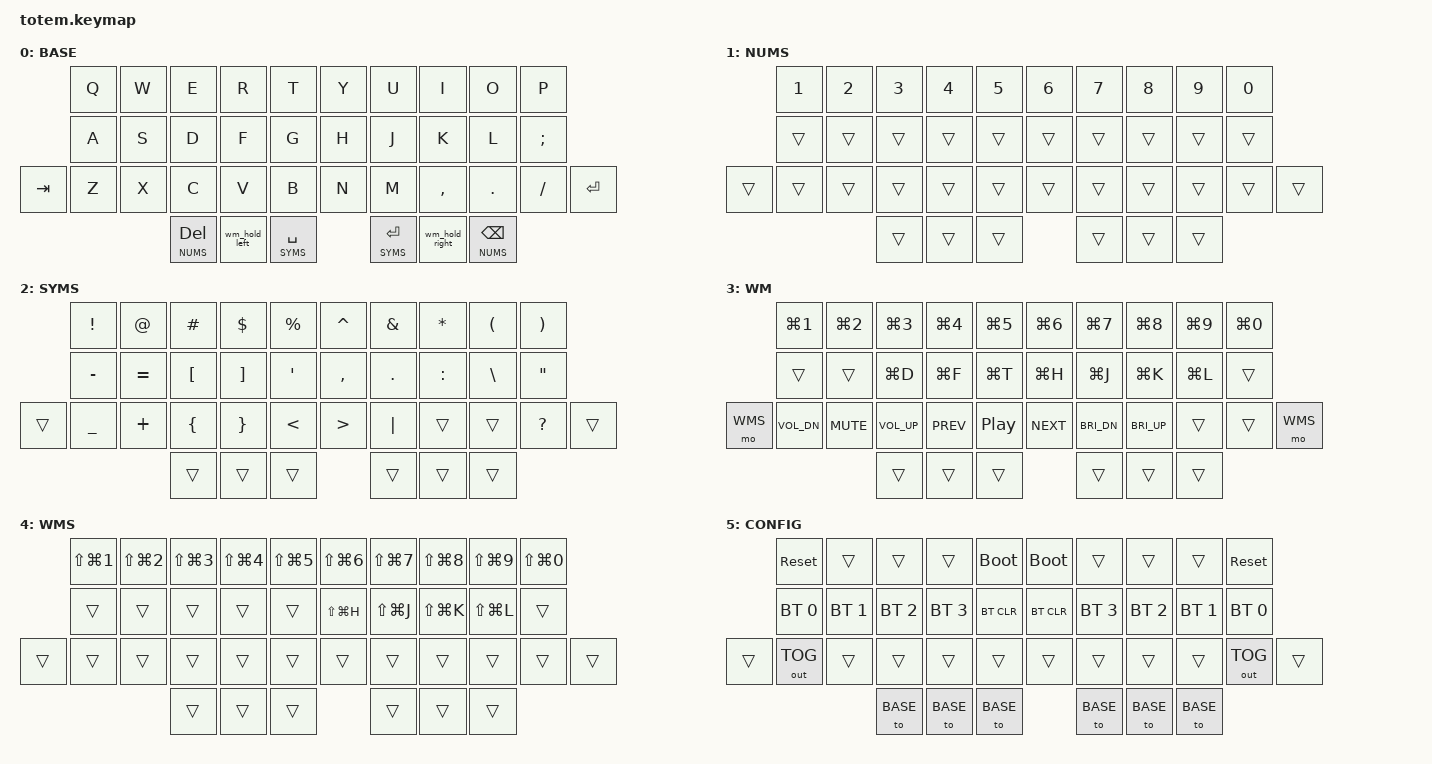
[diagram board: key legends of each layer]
//
//                                                        ▀▀▀▀▀     ▀▀▀▀▀          ▀▀█▀▀
//                                                        ▄▀▀▀▄  ▄  ▄▀▀▀▄  ▄  ▄▀▀▀▄  █  ▄▀▀▀▄
//                                                        █   █  █  █   █  █  █   █  █  █   █
//                                                         ▀▀▀   █   ▀▀▀   █   ▀▀▀   ▀   ▀▀▀
//                                                               █      ▄▄▄█▄▄▄    █   █
//                                                               ▀      █  █  █     █▄█
//                                                             ▀▀▀▀▀    █  █  █      ▀
//                                                                      ▀  ▀  ▀
//
// ▄▄▄▄▄▄▄▄▄▄▄▄▄▄▄▄▄▄▄▄▄▄▄▄▄▄▄▄▄▄▄▄▄▄▄▄▄▄▄▄▄▄▄▄▄▄▄▄▄▄▄▄▄▄▄▄▄▄▄▄▄▄▄▄▄▄▄▄▄▄▄▄▄▄▄▄▄▄▄▄▄▄▄▄▄▄▄▄▄▄▄▄▄▄▄▄▄▄▄▄▄▄▄▄▄▄▄▄▄▄▄▄▄▄▄▄▄▄▄▄▄▄▄▄▄▄▄▄▄▄▄▄▄▄▄▄▄▄▄▄▄▄▄▄▄▄▄▄▄

#include <behaviors.dtsi>
#include <dt-bindings/zmk/bt.h>
#include <dt-bindings/zmk/keys.h>
#include <dt-bindings/zmk/outputs.h>
#include <dt-bindings/zmk/macros.dtsi>

#define BASE   0
#define NUMS   1
#define SYMS   2
#define WM     3
#define WMS    4
#define CONFIG 5

&mt {
    quick-tap-ms = <100>;
    global-quick-tap;
    flavor = "tap-preferred";
    tapping-term-ms = <170>;
};

// Macro: hold LGUI + WM layer simultaneously
wm_gui_macro: wm_gui_macro {
    compatible = "zmk,behavior-macro";
    label = "WM_GUI_MACRO";
    #binding-cells = <0>;
    bindings =
        <&macro_press &kp LGUI>,
        <&macro_press &mo WM>,
        <&macro_pause_for_release>,
        <&macro_release &mo WM>,
        <&macro_release &kp LGUI>;
    wait-ms = <2>;
    tap-ms = <2>;
};

// Left thumb: hold = LGUI+WM, tap = TAB
wm_hold_left: wm_hold_left {
    compatible = "zmk,behavior-hold-tap";
    label = "WM_HOLD_LEFT";
    #binding-cells = <0>;
    bindings = <&wm_gui_macro>, <&kp TAB>;
    flavor = "hold-preferred";
    tapping-term-ms = <170>;
};

// Right thumb: hold = LGUI+WM, tap = ESC
wm_hold_right: wm_hold_right {
    compatible = "zmk,behavior-hold-tap";
    label = "WM_HOLD_RIGHT";
    #binding-cells = <0>;
    bindings = <&wm_gui_macro>, <&kp ESC>;
    flavor = "hold-preferred";
    tapping-term-ms = <170>;
};

/ {
    combos {
        compatible = "zmk,combos";

        combo_esc {
            timeout-ms = <50>;
            key-positions = <0 1>;
            bindings = <&kp ESC>;
            layers = <BASE>;
        };

        combo_wm_quit {
            timeout-ms = <50>;
            key-positions = <0 1>;
            bindings = <&kp LG(Q)>;
            layers = <WM>;
        };

        combo_backspace {
            bindings = <&kp BACKSPACE>;
            key-positions = <8 9>;
        };

        // CONFIG layer toggle - DEL + SPACE (thumb 1 + thumb 3)
        combo_config_toggle {
            timeout-ms = <50>;
            key-positions = <32 34>;
            bindings = <&to CONFIG>;
        };

        // CONFIG layer exit via Q + W
        combo_config_exit {
            timeout-ms = <50>;
            key-positions = <0 1>;
            bindings = <&to BASE>;
            layers = <CONFIG>;
        };
    };

    keymap {
        compatible = "zmk,keymap";

        // ▄▄▄▄▄▄▄▄▄▄▄▄▄▄▄▄▄▄▄▄▄▄▄▄▄▄▄▄▄▄▄▄▄▄▄▄▄▄▄▄▄▄▄▄▄▄▄▄▄▄▄▄▄▄▄▄▄▄▄▄▄▄▄▄▄▄▄▄▄▄▄▄▄▄▄▄▄▄▄▄▄▄▄▄▄▄▄▄▄▄▄▄▄▄▄▄▄▄▄▄▄▄▄▄▄▄▄▄▄▄▄▄▄▄▄▄▄▄▄▄▄▄▄▄▄▄▄▄▄▄▄▄▄▄▄▄▄▄▄▄▄▄▄▄▄▄▄▄▄

        base_layer {
            label = "BASE";

            //             ┏━━━━━━━━━━━┳━━━━━━━━━━━┳━━━━━━━━━━━┳━━━━━━━━━━━┳━━━━━━━━━━━┓   ┏━━━━━━━━━━━┳━━━━━━━━━━━┳━━━━━━━━━━━┳━━━━━━━━━━━┳━━━━━━━━━━━┓
            //             ┃     Q     ┃     W     ┃     E     ┃     R     ┃     T     ┃   ┃     Y     ┃     U     ┃     I     ┃     O     ┃     P     ┃
            //             ┣━━━━━━━━━━━╋━━━━━━━━━━━╋━━━━━━━━━━━╋━━━━━━━━━━━╋━━━━━━━━━━━┫   ┣━━━━━━━━━━━╋━━━━━━━━━━━╋━━━━━━━━━━━╋━━━━━━━━━━━╋━━━━━━━━━━━┫
            //             ┃     A     ┃     S     ┃     D     ┃     F     ┃     G     ┃   ┃     H     ┃     J     ┃     K     ┃     L     ┃     ;     ┃
            // ┏━━━━━━━━━━━╋━━━━━━━━━━━╋━━━━━━━━━━━╋━━━━━━━━━━━╋━━━━━━━━━━━╋━━━━━━━━━━━┫   ┣━━━━━━━━━━━╋━━━━━━━━━━━╋━━━━━━━━━━━╋━━━━━━━━━━━╋━━━━━━━━━━━╋━━━━━━━━━━━┓
            // ┃    TAB    ┃     Z     ┃     X     ┃     C     ┃     V     ┃     B     ┃   ┃     N     ┃     M     ┃     ,     ┃     .     ┃     /     ┃   ENTER   ┃
            // ┗━━━━━━━━━━━┻━━━━━━━━━━━┻━━━━━━━━━━━╋━━━━━━━━━━━╋━━━━━━━━━━━╋━━━━━━━━━━━┫   ┣━━━━━━━━━━━╋━━━━━━━━━━━╋━━━━━━━━━━━╋━━━━━━━━━━━┻━━━━━━━━━━━┻━━━━━━━━━━━┛
            //                                     ┃ LT(NUM,DEL) ┃  WM+GUI/TAB  ┃ LT(SYM,SPC) ┃   ┃ LT(SYM,RET) ┃  WM+GUI/ESC  ┃ LT(NUM,BSPC) ┃
            //                                     ┗━━━━━━━━━━━┻━━━━━━━━━━━┻━━━━━━━━━━━┛   ┗━━━━━━━━━━━┻━━━━━━━━━━━┻━━━━━━━━━━━┛

            bindings = <
            &kp Q      &kp W  &kp E    &kp R           &kp T                &kp Y            &kp U           &kp I      &kp O    &kp P
            &kp A      &kp S  &kp D    &kp F           &kp G                &kp H            &kp J           &kp K      &kp L    &kp SEMICOLON
&kp TAB     &kp Z      &kp X  &kp C    &kp V           &kp B                &kp N            &kp M           &kp COMMA  &kp DOT  &kp FSLH       &kp ENTER
                              &lt NUMS DEL  &wm_hold_left      &lt SYMS SPACE      &lt SYMS RET     &wm_hold_right      &lt NUMS BSPC
            >;
        };

        // ▄▄▄▄▄▄▄▄▄▄▄▄▄▄▄▄▄▄▄▄▄▄▄▄▄▄▄▄▄▄▄▄▄▄▄▄▄▄▄▄▄▄▄▄▄▄▄▄▄▄▄▄▄▄▄▄▄▄▄▄▄▄▄▄▄▄▄▄▄▄▄▄▄▄▄▄▄▄▄▄▄▄▄▄▄▄▄▄▄▄▄▄▄▄▄▄▄▄▄▄▄▄▄▄▄▄▄▄▄▄▄▄▄▄▄▄▄▄▄▄▄▄▄▄▄▄▄▄▄▄▄▄▄▄▄▄▄▄▄▄▄▄▄▄▄▄▄▄▄

        nums_layer {
            label = "NUMS";

            //             ┏━━━━━━━━━━━┳━━━━━━━━━━━┳━━━━━━━━━━━┳━━━━━━━━━━━┳━━━━━━━━━━━┓   ┏━━━━━━━━━━━┳━━━━━━━━━━━┳━━━━━━━━━━━┳━━━━━━━━━━━┳━━━━━━━━━━━┓
            //             ┃     1     ┃     2     ┃     3     ┃     4     ┃     5     ┃   ┃     6     ┃     7     ┃     8     ┃     9     ┃     0     ┃
            //             ┣━━━━━━━━━━━╋━━━━━━━━━━━╋━━━━━━━━━━━╋━━━━━━━━━━━╋━━━━━━━━━━━┫   ┣━━━━━━━━━━━╋━━━━━━━━━━━╋━━━━━━━━━━━╋━━━━━━━━━━━╋━━━━━━━━━━━┫
            //             ┃           ┃           ┃           ┃           ┃           ┃   ┃           ┃           ┃           ┃           ┃           ┃
            // ┏━━━━━━━━━━━╋━━━━━━━━━━━╋━━━━━━━━━━━╋━━━━━━━━━━━╋━━━━━━━━━━━╋━━━━━━━━━━━┫   ┣━━━━━━━━━━━╋━━━━━━━━━━━╋━━━━━━━━━━━╋━━━━━━━━━━━╋━━━━━━━━━━━╋━━━━━━━━━━━┓
            // ┃           ┃           ┃           ┃           ┃           ┃           ┃   ┃           ┃           ┃           ┃           ┃           ┃           ┃
            // ┗━━━━━━━━━━━┻━━━━━━━━━━━┻━━━━━━━━━━━╋━━━━━━━━━━━╋━━━━━━━━━━━╋━━━━━━━━━━━┫   ┣━━━━━━━━━━━╋━━━━━━━━━━━╋━━━━━━━━━━━╋━━━━━━━━━━━┻━━━━━━━━━━━┻━━━━━━━━━━━┛
            //                                     ┃  [HOLD]   ┃           ┃           ┃   ┃           ┃           ┃  [HOLD]   ┃
            //                                     ┗━━━━━━━━━━━┻━━━━━━━━━━━┻━━━━━━━━━━━┛   ┗━━━━━━━━━━━┻━━━━━━━━━━━┻━━━━━━━━━━━┛

            bindings = <
            &kp N1     &kp N2     &kp N3     &kp N4      &kp N5          &kp N6      &kp N7      &kp N8      &kp N9      &kp N0
            &trans     &trans     &trans     &trans      &trans          &trans      &trans      &trans      &trans      &trans
&trans      &trans     &trans     &trans     &trans      &trans          &trans      &trans      &trans      &trans      &trans      &trans
                                  &trans     &trans      &trans          &trans      &trans      &trans
            >;
        };

        // ▄▄▄▄▄▄▄▄▄▄▄▄▄▄▄▄▄▄▄▄▄▄▄▄▄▄▄▄▄▄▄▄▄▄▄▄▄▄▄▄▄▄▄▄▄▄▄▄▄▄▄▄▄▄▄▄▄▄▄▄▄▄▄▄▄▄▄▄▄▄▄▄▄▄▄▄▄▄▄▄▄▄▄▄▄▄▄▄▄▄▄▄▄▄▄▄▄▄▄▄▄▄▄▄▄▄▄▄▄▄▄▄▄▄▄▄▄▄▄▄▄▄▄▄▄▄▄▄▄▄▄▄▄▄▄▄▄▄▄▄▄▄▄▄▄▄▄▄▄

        syms_layer {
            label = "SYMS";

            //             ┏━━━━━━━━━━━┳━━━━━━━━━━━┳━━━━━━━━━━━┳━━━━━━━━━━━┳━━━━━━━━━━━┓   ┏━━━━━━━━━━━┳━━━━━━━━━━━┳━━━━━━━━━━━┳━━━━━━━━━━━┳━━━━━━━━━━━┓
            //             ┃     !     ┃     @     ┃     #     ┃     $     ┃     %     ┃   ┃     ^     ┃     &     ┃     *     ┃     (     ┃     )     ┃
            //             ┣━━━━━━━━━━━╋━━━━━━━━━━━╋━━━━━━━━━━━╋━━━━━━━━━━━╋━━━━━━━━━━━┫   ┣━━━━━━━━━━━╋━━━━━━━━━━━╋━━━━━━━━━━━╋━━━━━━━━━━━╋━━━━━━━━━━━┫
            //             ┃     -     ┃     =     ┃     [     ┃     ]     ┃     '     ┃   ┃     ,     ┃     .     ┃     :     ┃     \     ┃     "     ┃
            // ┏━━━━━━━━━━━╋━━━━━━━━━━━╋━━━━━━━━━━━╋━━━━━━━━━━━╋━━━━━━━━━━━╋━━━━━━━━━━━┫   ┣━━━━━━━━━━━╋━━━━━━━━━━━╋━━━━━━━━━━━╋━━━━━━━━━━━╋━━━━━━━━━━━╋━━━━━━━━━━━┓
            // ┃           ┃     _     ┃     +     ┃     {     ┃     }     ┃     <     ┃   ┃     >     ┃     |     ┃           ┃           ┃     ?     ┃           ┃
            // ┗━━━━━━━━━━━┻━━━━━━━━━━━┻━━━━━━━━━━━╋━━━━━━━━━━━╋━━━━━━━━━━━╋━━━━━━━━━━━┫   ┣━━━━━━━━━━━╋━━━━━━━━━━━╋━━━━━━━━━━━╋━━━━━━━━━━━┻━━━━━━━━━━━┻━━━━━━━━━━━┛
            //                                     ┃           ┃           ┃  [HOLD]   ┃   ┃  [HOLD]   ┃           ┃           ┃
            //                                     ┗━━━━━━━━━━━┻━━━━━━━━━━━┻━━━━━━━━━━━┛   ┗━━━━━━━━━━━┻━━━━━━━━━━━┻━━━━━━━━━━━┛

            bindings = <
            &kp EXCL   &kp AT     &kp HASH   &kp DLLR    &kp PRCNT       &kp CARET   &kp AMPS    &kp ASTRK   &kp LPAR    &kp RPAR
            &kp MINUS  &kp EQUAL  &kp LBKT   &kp RBKT    &kp SQT         &kp COMMA   &kp DOT     &kp COLON   &kp BSLH    &kp DQT
&trans      &kp UNDER  &kp PLUS   &kp LBRC   &kp RBRC    &kp LT          &kp GT      &kp PIPE    &trans      &trans      &kp QMARK   &trans
                                  &trans     &trans      &trans          &trans      &trans      &trans
            >;
        };

        // ▄▄▄▄▄▄▄▄▄▄▄▄▄▄▄▄▄▄▄▄▄▄▄▄▄▄▄▄▄▄▄▄▄▄▄▄▄▄▄▄▄▄▄▄▄▄▄▄▄▄▄▄▄▄▄▄▄▄▄▄▄▄▄▄▄▄▄▄▄▄▄▄▄▄▄▄▄▄▄▄▄▄▄▄▄▄▄▄▄▄▄▄▄▄▄▄▄▄▄▄▄▄▄▄▄▄▄▄▄▄▄▄▄▄▄▄▄▄▄▄▄▄▄▄▄▄▄▄▄▄▄▄▄▄▄▄▄▄▄▄▄▄▄▄▄▄▄▄▄

        wm_layer {
            label = "WM";

            //             ┏━━━━━━━━━━━┳━━━━━━━━━━━┳━━━━━━━━━━━┳━━━━━━━━━━━┳━━━━━━━━━━━┓   ┏━━━━━━━━━━━┳━━━━━━━━━━━┳━━━━━━━━━━━┳━━━━━━━━━━━┳━━━━━━━━━━━┓
            //             ┃  Super+1  ┃  Super+2  ┃  Super+3  ┃  Super+4  ┃  Super+5  ┃   ┃  Super+6  ┃  Super+7  ┃  Super+8  ┃  Super+9  ┃  Super+0  ┃
            //             ┣━━━━━━━━━━━╋━━━━━━━━━━━╋━━━━━━━━━━━╋━━━━━━━━━━━╋━━━━━━━━━━━┫   ┣━━━━━━━━━━━╋━━━━━━━━━━━╋━━━━━━━━━━━╋━━━━━━━━━━━╋━━━━━━━━━━━┫
            //             ┃           ┃           ┃  Super+D  ┃  Super+F  ┃  Super+T  ┃   ┃  Super+H  ┃  Super+J  ┃  Super+K  ┃  Super+L  ┃           ┃
            // ┏━━━━━━━━━━━╋━━━━━━━━━━━╋━━━━━━━━━━━╋━━━━━━━━━━━╋━━━━━━━━━━━╋━━━━━━━━━━━┫   ┣━━━━━━━━━━━╋━━━━━━━━━━━╋━━━━━━━━━━━╋━━━━━━━━━━━╋━━━━━━━━━━━╋━━━━━━━━━━━┓
            // ┃   WMS     ┃   VOL-    ┃   MUTE    ┃   VOL+    ┃   PREV    ┃  PAUSE    ┃   ┃   NEXT    ┃   BRI-    ┃   BRI+    ┃           ┃           ┃   WMS     ┃
            // ┗━━━━━━━━━━━┻━━━━━━━━━━━┻━━━━━━━━━━━╋━━━━━━━━━━━╋━━━━━━━━━━━╋━━━━━━━━━━━┫   ┣━━━━━━━━━━━╋━━━━━━━━━━━╋━━━━━━━━━━━╋━━━━━━━━━━━┻━━━━━━━━━━━┻━━━━━━━━━━━┛
            //                                     ┃           ┃  [HOLD]   ┃           ┃   ┃           ┃  [HOLD]   ┃           ┃
            //                                     ┗━━━━━━━━━━━┻━━━━━━━━━━━┻━━━━━━━━━━━┛   ┗━━━━━━━━━━━┻━━━━━━━━━━━┻━━━━━━━━━━━┛

            bindings = <
            &kp LG(N1)  &kp LG(N2)      &kp LG(N3)      &kp LG(N4)      &kp LG(N5)          &kp LG(N6)      &kp LG(N7)      &kp LG(N8)      &kp LG(N9)  &kp LG(N0)
            &trans      &trans          &kp LG(D)       &kp LG(F)       &kp LG(T)           &kp LG(H)       &kp LG(J)       &kp LG(K)       &kp LG(L)   &trans
&mo WMS     &kp C_VOL_DN &kp C_MUTE     &kp C_VOL_UP    &kp C_PREV      &kp C_PP            &kp C_NEXT      &kp C_BRI_DN    &kp C_BRI_UP    &trans      &trans      &mo WMS
                                        &trans          &trans          &trans              &trans          &trans          &trans
            >;
        };

        // ▄▄▄▄▄▄▄▄▄▄▄▄▄▄▄▄▄▄▄▄▄▄▄▄▄▄▄▄▄▄▄▄▄▄▄▄▄▄▄▄▄▄▄▄▄▄▄▄▄▄▄▄▄▄▄▄▄▄▄▄▄▄▄▄▄▄▄▄▄▄▄▄▄▄▄▄▄▄▄▄▄▄▄▄▄▄▄▄▄▄▄▄▄▄▄▄▄▄▄▄▄▄▄▄▄▄▄▄▄▄▄▄▄▄▄▄▄▄▄▄▄▄▄▄▄▄▄▄▄▄▄▄▄▄▄▄▄▄▄▄▄▄▄▄▄▄▄▄▄

        wms_layer {
            label = "WMS";

            //             ┏━━━━━━━━━━━┳━━━━━━━━━━━┳━━━━━━━━━━━┳━━━━━━━━━━━┳━━━━━━━━━━━┓   ┏━━━━━━━━━━━┳━━━━━━━━━━━┳━━━━━━━━━━━┳━━━━━━━━━━━┳━━━━━━━━━━━┓
            //             ┃ Super+S+1 ┃ Super+S+2 ┃ Super+S+3 ┃ Super+S+4 ┃ Super+S+5 ┃   ┃ Super+S+6 ┃ Super+S+7 ┃ Super+S+8 ┃ Super+S+9 ┃ Super+S+0 ┃
            //             ┣━━━━━━━━━━━╋━━━━━━━━━━━╋━━━━━━━━━━━╋━━━━━━━━━━━╋━━━━━━━━━━━┫   ┣━━━━━━━━━━━╋━━━━━━━━━━━╋━━━━━━━━━━━╋━━━━━━━━━━━╋━━━━━━━━━━━┫
            //             ┃           ┃           ┃           ┃           ┃           ┃   ┃ Super+S+H ┃ Super+S+J ┃ Super+S+K ┃ Super+S+L ┃           ┃
            // ┏━━━━━━━━━━━╋━━━━━━━━━━━╋━━━━━━━━━━━╋━━━━━━━━━━━╋━━━━━━━━━━━╋━━━━━━━━━━━┫   ┣━━━━━━━━━━━╋━━━━━━━━━━━╋━━━━━━━━━━━╋━━━━━━━━━━━╋━━━━━━━━━━━╋━━━━━━━━━━━┓
            // ┃  [HOLD]   ┃           ┃           ┃           ┃           ┃           ┃   ┃           ┃           ┃           ┃           ┃           ┃  [HOLD]   ┃
            // ┗━━━━━━━━━━━┻━━━━━━━━━━━┻━━━━━━━━━━━╋━━━━━━━━━━━╋━━━━━━━━━━━╋━━━━━━━━━━━┫   ┣━━━━━━━━━━━╋━━━━━━━━━━━╋━━━━━━━━━━━╋━━━━━━━━━━━┻━━━━━━━━━━━┻━━━━━━━━━━━┛
            //                                     ┃           ┃           ┃           ┃   ┃           ┃           ┃           ┃
            //                                     ┗━━━━━━━━━━━┻━━━━━━━━━━━┻━━━━━━━━━━━┛   ┗━━━━━━━━━━━┻━━━━━━━━━━━┻━━━━━━━━━━━┛

            bindings = <
            &kp LS(LG(N1))  &kp LS(LG(N2))  &kp LS(LG(N3))  &kp LS(LG(N4))  &kp LS(LG(N5))      &kp LS(LG(N6))  &kp LS(LG(N7))  &kp LS(LG(N8))  &kp LS(LG(N9))  &kp LS(LG(N0))
            &trans          &trans          &trans          &trans          &trans              &kp LS(LG(H))   &kp LS(LG(J))   &kp LS(LG(K))   &kp LS(LG(L))   &trans
&trans      &trans          &trans          &trans          &trans          &trans              &trans          &trans          &trans          &trans          &trans          &trans
                                            &trans          &trans          &trans              &trans          &trans          &trans
            >;
        };

        // ▄▄▄▄▄▄▄▄▄▄▄▄▄▄▄▄▄▄▄▄▄▄▄▄▄▄▄▄▄▄▄▄▄▄▄▄▄▄▄▄▄▄▄▄▄▄▄▄▄▄▄▄▄▄▄▄▄▄▄▄▄▄▄▄▄▄▄▄▄▄▄▄▄▄▄▄▄▄▄▄▄▄▄▄▄▄▄▄▄▄▄▄▄▄▄▄▄▄▄▄▄▄▄▄▄▄▄▄▄▄▄▄▄▄▄▄▄▄▄▄▄▄▄▄▄▄▄▄▄▄▄▄▄▄▄▄▄▄▄▄▄▄▄▄▄▄▄▄▄

        config_layer {
            label = "CONFIG";

            //             ┏━━━━━━━━━━━┳━━━━━━━━━━━┳━━━━━━━━━━━┳━━━━━━━━━━━┳━━━━━━━━━━━┓   ┏━━━━━━━━━━━┳━━━━━━━━━━━┳━━━━━━━━━━━┳━━━━━━━━━━━┳━━━━━━━━━━━┓
            //             ┃   RESET   ┃           ┃           ┃           ┃ BOOTLOAD  ┃   ┃ BOOTLOAD  ┃           ┃           ┃           ┃   RESET   ┃
            //             ┣━━━━━━━━━━━╋━━━━━━━━━━━╋━━━━━━━━━━━╋━━━━━━━━━━━╋━━━━━━━━━━━┫   ┣━━━━━━━━━━━╋━━━━━━━━━━━╋━━━━━━━━━━━╋━━━━━━━━━━━╋━━━━━━━━━━━┫
            //             ┃   BT_1    ┃   BT_2    ┃   BT_3    ┃   BT_4    ┃  BT_CLR   ┃   ┃  BT_CLR   ┃   BT_4    ┃   BT_3    ┃   BT_2    ┃   BT_1    ┃
            // ┏━━━━━━━━━━━╋━━━━━━━━━━━╋━━━━━━━━━━━╋━━━━━━━━━━━╋━━━━━━━━━━━╋━━━━━━━━━━━┫   ┣━━━━━━━━━━━╋━━━━━━━━━━━╋━━━━━━━━━━━╋━━━━━━━━━━━╋━━━━━━━━━━━╋━━━━━━━━━━━┓
            // ┃           ┃  OUT_TOG  ┃           ┃           ┃           ┃           ┃   ┃           ┃           ┃           ┃           ┃  OUT_TOG  ┃           ┃
            // ┗━━━━━━━━━━━┻━━━━━━━━━━━┻━━━━━━━━━━━╋━━━━━━━━━━━╋━━━━━━━━━━━╋━━━━━━━━━━━┫   ┣━━━━━━━━━━━╋━━━━━━━━━━━╋━━━━━━━━━━━╋━━━━━━━━━━━┻━━━━━━━━━━━┻━━━━━━━━━━━┛
            //                                     ┃  to BASE  ┃  to BASE  ┃  to BASE  ┃   ┃  to BASE  ┃  to BASE  ┃  to BASE  ┃
            //                                     ┗━━━━━━━━━━━┻━━━━━━━━━━━┻━━━━━━━━━━━┛   ┗━━━━━━━━━━━┻━━━━━━━━━━━┻━━━━━━━━━━━┛

            bindings = <
            &sys_reset      &trans          &trans          &trans          &bootloader         &bootloader     &trans          &trans          &trans          &sys_reset
            &bt BT_SEL 0    &bt BT_SEL 1    &bt BT_SEL 2    &bt BT_SEL 3    &bt BT_CLR          &bt BT_CLR      &bt BT_SEL 3    &bt BT_SEL 2    &bt BT_SEL 1    &bt BT_SEL 0
&trans      &out OUT_TOG    &trans          &trans          &trans          &trans              &trans          &trans          &trans          &trans          &out OUT_TOG    &trans
                                            &to BASE        &to BASE        &to BASE            &to BASE        &to BASE        &to BASE
            >;
        };

        // ▄▄▄▄▄▄▄▄▄▄▄▄▄▄▄▄▄▄▄▄▄▄▄▄▄▄▄▄▄▄▄▄▄▄▄▄▄▄▄▄▄▄▄▄▄▄▄▄▄▄▄▄▄▄▄▄▄▄▄▄▄▄▄▄▄▄▄▄▄▄▄▄▄▄▄▄▄▄▄▄▄▄▄▄▄▄▄▄▄▄▄▄▄▄▄▄▄▄▄▄▄▄▄▄▄▄▄▄▄▄▄▄▄▄▄▄▄▄▄▄▄▄▄▄▄▄▄▄▄▄▄▄▄▄▄▄▄▄▄▄▄▄▄▄▄▄▄▄▄
    };
};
